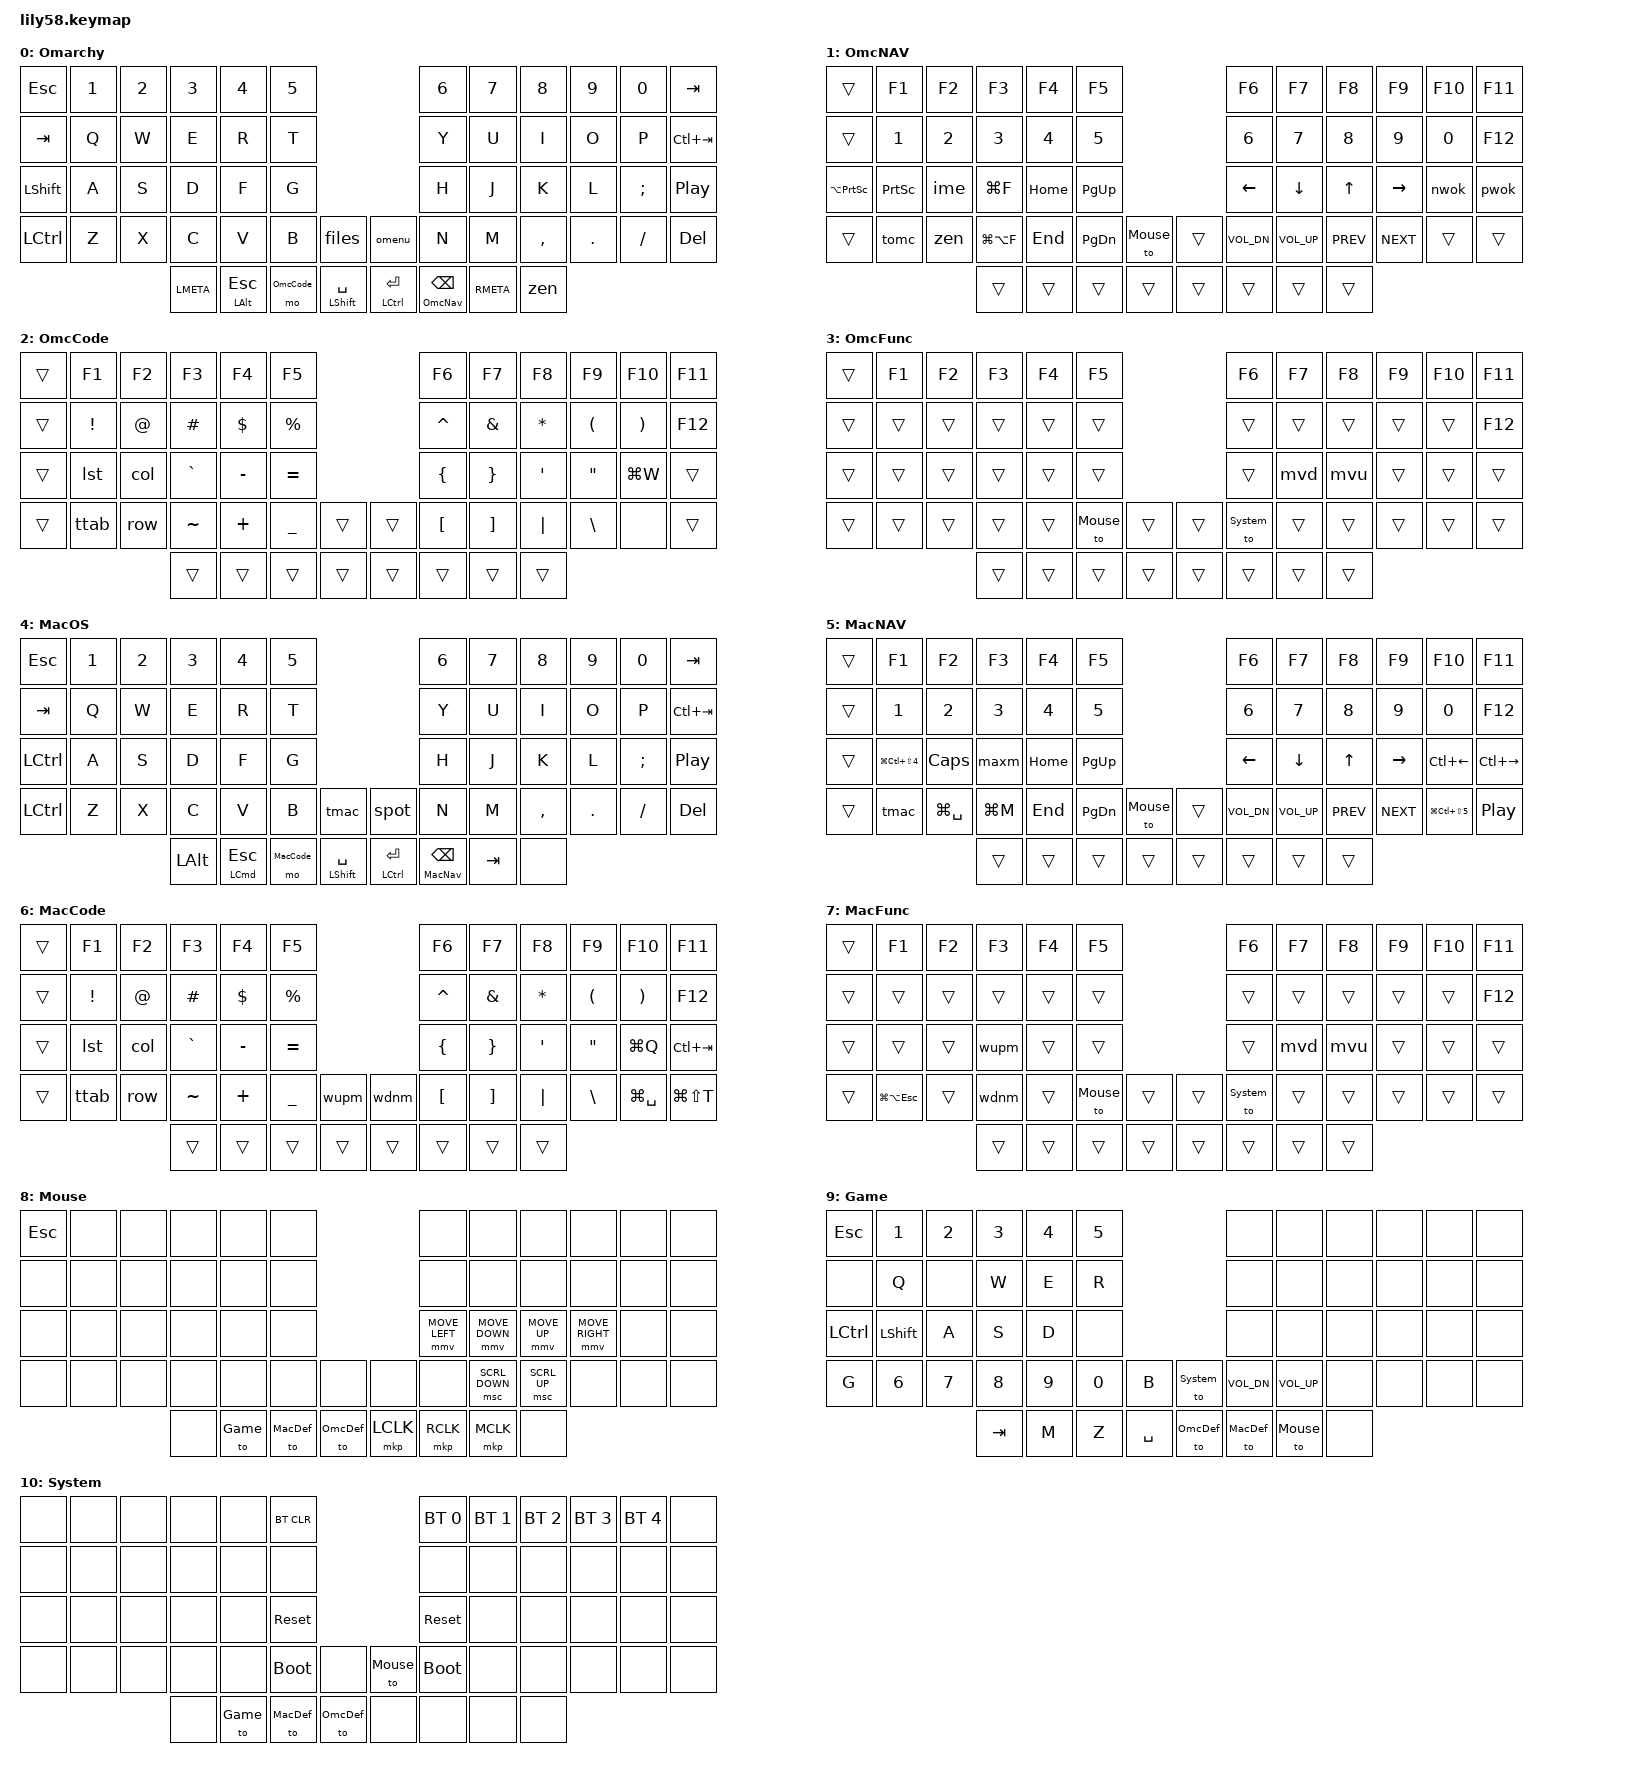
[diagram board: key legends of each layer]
/*
 * Copyright (c) 2020 The ZMK Contributors
 *
 * SPDX-License-Identifier: MIT
 */

#include <behaviors.dtsi>
#include <dt-bindings/zmk/bt.h>
#include <dt-bindings/zmk/keys.h>
#include <dt-bindings/zmk/pointing.h>

// Layers

#define OmcDef   0
#define OmcNav   1
#define OmcCode  2
#define OmcFunc  3
#define MacDef   4
#define MacNav   5
#define MacCode  6
#define MacFunc  7
#define Mouse    8
#define Game     9
#define System   10

// Macros

#define MACRO_WAIT_MS 30
#define MACRO_TAP_MS  30

/ {
    macros {
        zen: zen_browser {
            compatible = "zmk,behavior-macro";
            #binding-cells = <0>;
            wait-ms = <MACRO_WAIT_MS>;
            tap-ms = <MACRO_TAP_MS>;
            bindings =
                <&macro_press>,
                <&kp LMETA>,
                <&kp LSHFT>,
                
                <&macro_tap>,
                <&kp ENTER>,
                
                <&macro_release>,
                <&kp LMETA>,
                <&kp LSHFT>;
        };

        ime: chinese_ime {
            compatible = "zmk,behavior-macro";
            #binding-cells = <0>;
            wait-ms = <MACRO_WAIT_MS>;
            tap-ms = <MACRO_TAP_MS>;
            bindings =
                <&macro_press>,
                <&kp LMETA>,
                
                <&macro_tap>,
                <&kp I>,
                
                <&macro_release>,
                <&kp LMETA>;
        };


        tomc: terminal_omarchy {
            compatible = "zmk,behavior-macro";
            #binding-cells = <0>;
            wait-ms = <MACRO_WAIT_MS>;
            tap-ms = <MACRO_TAP_MS>;
            bindings =
                <&macro_press>,
                <&kp LMETA>,
                
                <&macro_tap>,
                <&kp ENTER>,
                
                <&macro_release>,
                <&kp LMETA>;
        };

        omenu: omarchy_menu {
            compatible = "zmk,behavior-macro";
            #binding-cells = <0>;
            wait-ms = <MACRO_WAIT_MS>;
            tap-ms = <MACRO_TAP_MS>;
            bindings =
                <&macro_press>,
                <&kp LMETA>,
                
                <&macro_tap>,
                <&kp SPACE>,
                
                <&macro_release>,
                <&kp LMETA>;
        };

        files: omarchy_files {
            compatible = "zmk,behavior-macro";
            #binding-cells = <0>;
            wait-ms = <MACRO_WAIT_MS>;
            tap-ms = <MACRO_TAP_MS>;
            bindings =
                <&macro_press>,
                <&kp LMETA>,
                <&kp LSHFT>,

                <&macro_tap>,
                <&kp F>,
                
                <&macro_release>,
                <&kp LMETA>,
                <&kp LSHFT>;
        };

        tmac: terminal_macos {
            compatible = "zmk,behavior-macro";
            #binding-cells = <0>;
            wait-ms = <MACRO_WAIT_MS>;
            tap-ms = <MACRO_TAP_MS>;
            bindings =
                <&macro_press>,
                <&kp LCMD>,

                <&macro_tap>,
                <&kp SPACE>,

                <&macro_wait_time 150>,
                <&kp N1>,

                <&macro_release>,
                <&kp LCMD>,

                <&macro_pause_for_release>,
                <&macro_wait_time 150>,
                <&macro_tap>,
                <&kp G>,
                <&kp H>,
                <&kp ENTER>;
        };

        nwok: next_omarhy_workstab {
            compatible = "zmk,behavior-macro";
            #binding-cells = <0>;
            wait-ms = <MACRO_WAIT_MS>;
            tap-ms = <MACRO_TAP_MS>;
            bindings =
                <&macro_press>,
                <&kp LMETA>,

                <&macro_tap>,
                <&kp TAB>,

                <&macro_release>,
                <&kp LMETA>;
        };

        pwok: pre_omarhy_workstab {
            compatible = "zmk,behavior-macro";
            #binding-cells = <0>;
            wait-ms = <MACRO_WAIT_MS>;
            tap-ms = <MACRO_TAP_MS>;
            bindings =
                <&macro_press>,
                <&kp LMETA>,
                <&kp LSHFT>,

                <&macro_tap>,
                <&kp TAB>,

                <&macro_release>,
                <&kp LMETA>,
                <&kp LSHFT>;
        };

        spot: spotlight {
            compatible = "zmk,behavior-macro";
            #binding-cells = <0>;
            wait-ms = <MACRO_WAIT_MS>;
            tap-ms = <MACRO_TAP_MS>;
            bindings =
                <&macro_press>,
                <&kp LCMD>,

                <&macro_tap>,
                <&kp SPACE>,

                <&macro_release>,
                <&kp LCMD>;
        };

        maxm: windowmax_mac {
            compatible = "zmk,behavior-macro";
            #binding-cells = <0>;
            wait-ms = <MACRO_WAIT_MS>;
            tap-ms = <MACRO_TAP_MS>;
            bindings =
                <&macro_press>,
                <&kp LG(LCTRL)>,

                <&macro_tap>,
                <&kp F>,

                <&macro_release>,
                <&kp LG(LCTRL)>;
        };

        recm: screenrecord_mac {
            compatible = "zmk,behavior-macro";
            #binding-cells = <0>;
            wait-ms = <MACRO_WAIT_MS>;
            tap-ms = <MACRO_TAP_MS>;
            bindings =
                <&macro_press>,
                <&kp LG(LSHFT)>,

                <&macro_tap>,
                <&kp N5>,

                <&macro_release>,
                <&kp LG(LSHFT)>;
        };

        wupm: windowup_mac {
            compatible = "zmk,behavior-macro";
            #binding-cells = <0>;
            wait-ms = <MACRO_WAIT_MS>;
            tap-ms = <MACRO_TAP_MS>;
            bindings =
                <&macro_press>,
                <&kp GLOBE>,
                <&kp LCTRL>,
                
                <&macro_tap>,
                <&kp F>,
                
                <&macro_release>,
                <&kp GLOBE>,
                <&kp LCTRL>;
        };

        wdnm: windowdown_mac {
            compatible = "zmk,behavior-macro";
            #binding-cells = <0>;
            wait-ms = <MACRO_WAIT_MS>;
            tap-ms = <MACRO_TAP_MS>;
            bindings =
                <&macro_press>,
                <&kp GLOBE>,
                <&kp LCTRL>,
                
                <&macro_tap>,
                <&kp C>,
                
                <&macro_release>,
                <&kp GLOBE>,
                <&kp LCTRL>;
        };

        mvu: move_up {
            compatible = "zmk,behavior-macro";
            #binding-cells = <0>;
            wait-ms = <MACRO_WAIT_MS>;
            tap-ms = <MACRO_TAP_MS>;
            bindings =
                <&macro_press>,
                <&kp LALT>,

                <&macro_tap>,
                <&kp K>,

                <&macro_release>,
                <&kp LALT>;
        };

        mvd: move_down {
            compatible = "zmk,behavior-macro";
            #binding-cells = <0>;
            wait-ms = <MACRO_WAIT_MS>;
            tap-ms = <MACRO_TAP_MS>;
            bindings =
                <&macro_press>,
                <&kp LALT>,

                <&macro_tap>,
                <&kp J>,

                <&macro_release>,
                <&kp LALT>;
        };

        col: tmux_column {
            compatible = "zmk,behavior-macro";
            #binding-cells = <0>;
            wait-ms = <MACRO_WAIT_MS>;
            tap-ms = <MACRO_TAP_MS>;
            bindings = 
                <&macro_tap>,
                <&kp LC(A)>,
                <&kp PIPE>;
        };

        row: tmux_row {
            compatible = "zmk,behavior-macro";
            #binding-cells = <0>;
            wait-ms = <MACRO_WAIT_MS>;
            tap-ms = <MACRO_TAP_MS>;
            bindings =
                <&macro_tap>,
                <&kp LC(A)>,
                <&kp MINUS>;
        };

        lst: tmux_list {
            compatible = "zmk,behavior-macro";
            #binding-cells = <0>;
            wait-ms = <MACRO_WAIT_MS>;
            tap-ms = <MACRO_TAP_MS>;
            bindings = 
                <&macro_tap>,
                <&kp LC(A)>,
                <&kp W>;
        };

        ttab: tmux_create {
            compatible = "zmk,behavior-macro";
            #binding-cells = <0>;
            wait-ms = <MACRO_WAIT_MS>;
            tap-ms = <MACRO_TAP_MS>;
            bindings = 
                <&macro_tap>,
                <&kp LC(A)>,
                <&kp C>;
        };
    };

    behaviors {
        tm: thumb_mods {
            compatible = "zmk,behavior-hold-tap";
            #binding-cells = <2>;
            tapping-term-ms = <180>;
            quick-tap-ms = <150>;
            flavor = "balanced";
            bindings = <&kp>, <&kp>;
        };

        lh: layer_hold {
            compatible = "zmk,behavior-hold-tap";
            #binding-cells = <2>;
            tapping-term-ms = <180>;
            quick-tap-ms = <150>;
            flavor = "balanced";
            bindings = <&mo>, <&kp>;
        };
    };

    keymap {
        compatible = "zmk,keymap";

        OmcDef {
            display-name = "Omarchy";
            bindings = <
&kp ESC    &kp N1  &kp N2  &kp N3     &kp N4        &kp N5                                         &kp N6           &kp N7     &kp N8     &kp N9   &kp N0    &kp TAB
&kp TAB    &kp Q   &kp W   &kp E      &kp R         &kp T                                          &kp Y            &kp U      &kp I      &kp O    &kp P     &kp LC(TAB)
&kp LSHFT  &kp A   &kp S   &kp D      &kp F         &kp G                                          &kp H            &kp J      &kp K      &kp L    &kp SEMI  &kp C_PLAY_PAUSE
&kp LCTRL  &kp Z   &kp X   &kp C      &kp V         &kp B        &files             &omenu         &kp N            &kp M      &kp COMMA  &kp DOT  &kp FSLH  &kp DEL
                           &kp LMETA  &tm LALT ESC  &mo OmcCode  &tm LSHFT SPACE    &tm LCTRL RET  &lh OmcNav BSPC  &kp RMETA  &zen
            >;
        };

        OmcNav {
            display-name = "OmcNAV";
            bindings = <
&trans         &kp F1     &kp F2  &kp F3         &kp F4    &kp F5                          &kp F6        &kp F7        &kp F8      &kp F9      &kp F10  &kp F11
&trans         &kp N1     &kp N2  &kp N3         &kp N4    &kp N5                          &kp N6        &kp N7        &kp N8      &kp N9      &kp N0   &kp F12
&kp LA(PSCRN)  &kp PSCRN  &ime    &kp LG(F)      &kp HOME  &kp PG_UP                       &kp LEFT      &kp DOWN      &kp UP      &kp RIGHT   &nwok    &pwok
&trans         &tomc      &zen    &kp LG(LA(F))  &kp END   &kp PG_DN  &to Mouse    &trans  &kp C_VOL_DN  &kp C_VOL_UP  &kp C_PREV  &kp C_NEXT  &trans   &trans
                                  &trans         &trans    &trans     &trans       &trans  &trans        &trans        &trans
            >;
        };

        OmcCode {
            display-name = "OmcCode";
            bindings = <
&trans  &kp F1    &kp F2  &kp F3     &kp F4     &kp F5                       &kp F6     &kp F7    &kp F8    &kp F9    &kp F10    &kp F11
&trans  &kp EXCL  &kp AT  &kp HASH   &kp DLLR   &kp PRCNT                    &kp CARET  &kp AMPS  &kp STAR  &kp LPAR  &kp RPAR   &kp F12
&trans  &lst      &col    &kp GRAVE  &kp MINUS  &kp EQUAL                    &kp LBRC   &kp RBRC  &kp SQT   &kp DQT   &kp LG(W)  &trans
&trans  &ttab     &row    &kp TILDE  &kp PLUS   &kp UNDER  &trans    &trans  &kp LBKT   &kp RBKT  &kp PIPE  &kp BSLH  &none      &trans
                          &trans     &trans     &trans     &trans    &trans  &trans     &trans    &trans
            >;
        };

        OmcFunc {
            display-name = "OmcFunc";
            bindings = <
&trans  &kp F1  &kp F2  &kp F3  &kp F4  &kp F5                       &kp F6      &kp F7  &kp F8  &kp F9  &kp F10  &kp F11
&trans  &trans  &trans  &trans  &trans  &trans                       &trans      &trans  &trans  &trans  &trans   &kp F12
&trans  &trans  &trans  &trans  &trans  &trans                       &trans      &mvd    &mvu    &trans  &trans   &trans
&trans  &trans  &trans  &trans  &trans  &to Mouse  &trans    &trans  &to System  &trans  &trans  &trans  &trans   &trans
                        &trans  &trans  &trans     &trans    &trans  &trans      &trans  &trans
            >;
        };

        MacDef {
            display-name = "MacOS";
            bindings = <
&kp ESC    &kp N1  &kp N2  &kp N3    &kp N4        &kp N5                                         &kp N6           &kp N7   &kp N8     &kp N9   &kp N0    &kp TAB
&kp TAB    &kp Q   &kp W   &kp E     &kp R         &kp T                                          &kp Y            &kp U    &kp I      &kp O    &kp P     &kp LC(TAB)
&kp LCTRL  &kp A   &kp S   &kp D     &kp F         &kp G                                          &kp H            &kp J    &kp K      &kp L    &kp SEMI  &kp C_PLAY_PAUSE
&kp LCTRL  &kp Z   &kp X   &kp C     &kp V         &kp B        &tmac              &spot          &kp N            &kp M    &kp COMMA  &kp DOT  &kp FSLH  &kp DEL
                           &kp LALT  &tm LCMD ESC  &mo MacCode  &tm LSHFT SPACE    &tm LCTRL RET  &lh MacNav BSPC  &kp TAB  &none
            >;
        };

        MacNav {
            display-name = "MacNAV";
            bindings = <
&trans  &kp F1              &kp F2         &kp F3     &kp F4    &kp F5                          &kp F6        &kp F7        &kp F8      &kp F9      &kp F10             &kp F11
&trans  &kp N1              &kp N2         &kp N3     &kp N4    &kp N5                          &kp N6        &kp N7        &kp N8      &kp N9      &kp N0              &kp F12
&trans  &kp LG(LC(LS(N4)))  &kp CAPS       &maxm      &kp HOME  &kp PG_UP                       &kp LEFT      &kp DOWN      &kp UP      &kp RIGHT   &kp LC(LEFT)        &kp LC(RIGHT)
&trans  &tmac               &kp LG(SPACE)  &kp LG(M)  &kp END   &kp PG_DN  &to Mouse    &trans  &kp C_VOL_DN  &kp C_VOL_UP  &kp C_PREV  &kp C_NEXT  &kp LG(LC(LS(N5)))  &kp C_PLAY_PAUSE
                                           &trans     &trans    &trans     &trans       &trans  &trans        &trans        &trans
            >;
        };

        MacCode {
            display-name = "MacCode";
            bindings = <
&trans  &kp F1    &kp F2  &kp F3     &kp F4     &kp F5                       &kp F6     &kp F7    &kp F8    &kp F9    &kp F10        &kp F11
&trans  &kp EXCL  &kp AT  &kp HASH   &kp DLLR   &kp PRCNT                    &kp CARET  &kp AMPS  &kp STAR  &kp LPAR  &kp RPAR       &kp F12
&trans  &lst      &col    &kp GRAVE  &kp MINUS  &kp EQUAL                    &kp LBRC   &kp RBRC  &kp SQT   &kp DQT   &kp LG(Q)      &kp LC(TAB)
&trans  &ttab     &row    &kp TILDE  &kp PLUS   &kp UNDER  &wupm     &wdnm   &kp LBKT   &kp RBKT  &kp PIPE  &kp BSLH  &kp LG(SPACE)  &kp LG(LS(T))
                          &trans     &trans     &trans     &trans    &trans  &trans     &trans    &trans
            >;
        };

        MacFunc {
            display-name = "MacFunc";
            bindings = <
&trans  &kp F1           &kp F2  &kp F3  &kp F4  &kp F5                       &kp F6      &kp F7  &kp F8  &kp F9  &kp F10  &kp F11
&trans  &trans           &trans  &trans  &trans  &trans                       &trans      &trans  &trans  &trans  &trans   &kp F12
&trans  &trans           &trans  &wupm   &trans  &trans                       &trans      &mvd    &mvu    &trans  &trans   &trans
&trans  &kp LG(LA(ESC))  &trans  &wdnm   &trans  &to Mouse  &trans    &trans  &to System  &trans  &trans  &trans  &trans   &trans
                                 &trans  &trans  &trans     &trans    &trans  &trans      &trans  &trans
            >;
        };

        Mouse {
            display-name = "Mouse";
            bindings = <
&kp ESC  &none  &none  &none  &none     &none                                &none           &none           &none         &none            &none  &none
&none    &none  &none  &none  &none     &none                                &none           &none           &none         &none            &none  &none
&none    &none  &none  &none  &none     &none                                &mmv MOVE_LEFT  &mmv MOVE_DOWN  &mmv MOVE_UP  &mmv MOVE_RIGHT  &none  &none
&none    &none  &none  &none  &none     &none       &none         &none      &none           &msc SCRL_DOWN  &msc SCRL_UP  &none            &none  &none
                       &none  &to Game  &to MacDef  &to OmcDef    &mkp LCLK  &mkp RCLK       &mkp MCLK       &none
            >;
        };

        Game {
            display-name = "Game";
            bindings = <
&kp ESC    &kp N1     &kp N2  &kp N3   &kp N4  &kp N5                           &none         &none         &none  &none  &none  &none
&none      &kp Q      &none   &kp W    &kp E   &kp R                            &none         &none         &none  &none  &none  &none
&kp LCTRL  &kp LSHFT  &kp A   &kp S    &kp D   &none                            &none         &none         &none  &none  &none  &none
&kp G      &kp N6     &kp N7  &kp N8   &kp N9  &kp N0  &kp B        &to System  &kp C_VOL_DN  &kp C_VOL_UP  &none  &none  &none  &none
                              &kp TAB  &kp M   &kp Z   &kp SPACE    &to OmcDef  &to MacDef    &to Mouse     &none
            >;
        };

        System {
            display-name = "System";
            bindings = <
&none  &none  &none  &none  &none     &bt BT_CLR                            &bt BT_SEL 0  &bt BT_SEL 1  &bt BT_SEL 2  &bt BT_SEL 3  &bt BT_SEL 4  &none
&none  &none  &none  &none  &none     &none                                 &none         &none         &none         &none         &none         &none
&none  &none  &none  &none  &none     &sys_reset                            &sys_reset    &none         &none         &none         &none         &none
&none  &none  &none  &none  &none     &bootloader  &none         &to Mouse  &bootloader   &none         &none         &none         &none         &none
                     &none  &to Game  &to MacDef   &to OmcDef    &none      &none         &none         &none
            >;
        };
    };

    conditional_layers {
        compatible = "zmk,conditional-layers";

        win_function {
            if-layers = <1 2>;
            then-layer = <3>;
        };

        mac_function {
            if-layers = <5 6>;
            then-layer = <7>;
        };
    };
};
